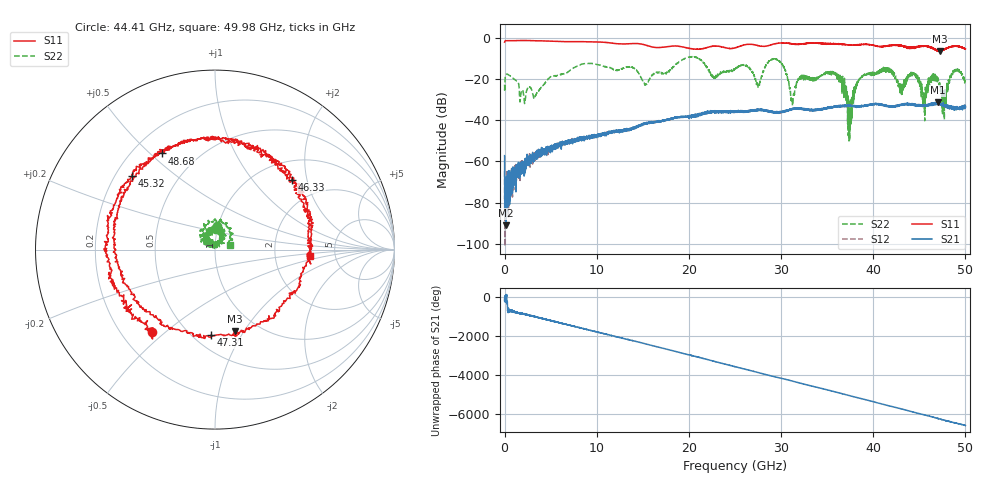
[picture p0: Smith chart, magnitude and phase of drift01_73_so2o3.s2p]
!Created with skrf (http://scikit-rf.org).
# Hz S RI R 50.0
!freq ReS11 ImS11 ReS21 ImS21 ReS12 ImS12 ReS22 ImS22
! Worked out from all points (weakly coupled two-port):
!   10001 points, 300 kHz to 50 GHz, reference 50 ohm
!   highest |S21| = -31.39 dB at 47.01 GHz (marker M1); lowest = -91.1 dB at 120.3 MHz (marker M2)
!   lowest |S11| = -6.6 dB at 47.21 GHz (marker M3), VSWR 2.76, Z = 39.1 - j45.6 ohm
!   |S11| at or under -10 dB: nowhere
!   |S22| runs from -50.1 to -9.2 dB; largest |S21 - S12| = 0.0038
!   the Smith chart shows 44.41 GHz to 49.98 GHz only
!   S11 on the Smith chart (normalised r, x): 44.41 GHz: 0.33, -0.45; 45.32 GHz: 0.27, +0.36; 46.33 GHz: 1.40, +1.63; 47.31 GHz: 0.61, -0.75; 48.68 GHz: 0.32, +0.55; 49.98 GHz: 3.20, -0.30
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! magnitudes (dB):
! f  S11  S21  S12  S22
! 300 kHz  -2.2  -57.2  -64.8  -22.8
! 120.3 MHz  -1.5  -91.1  -78.6  -18.1
! 3.29 GHz  -1.5  -56.9  -58.2  -28.8
! 8.335 GHz  -1.9  -48.7  -48.9  -12.9
! 16.67 GHz  -4.8  -40.9  -40.8  -16.7
! 25 GHz  -5.0  -35.9  -36.0  -15.2
! 29.58 GHz  -2.7  -36.2  -36.4  -10.7
! 31.23 GHz  -3.0  -34.8  -34.8  -32.2
! 33.34 GHz  -2.6  -34.9  -35.2  -20.3
! 36.14 GHz  -3.0  -33.4  -33.2  -19.6
! 37.47 GHz  -3.6  -33.3  -33.2  -38.6
! 38.66 GHz  -3.4  -33.3  -33.2  -19.2
! 41.67 GHz  -3.9  -33.4  -33.3  -16.8
! 44.41 GHz  -4.7  -32.8  -32.7  -17.6
! 45.32 GHz  -4.2  -33.1  -33.4  -25.7
! 46.33 GHz  -4.7  -32.8  -32.6  -18.6
! 47.01 GHz  -6.0  -31.4  -31.7  -19.7
! 47.21 GHz  -6.6  -32.2  -32.0  -22.1
! 47.31 GHz  -6.4  -31.8  -32.7  -25.2
! 48.68 GHz  -4.3  -34.8  -34.6  -16.7
! 49.98 GHz  -5.6  -34.0  -33.9  -20.9
! 50 GHz  -5.5  -33.7  -33.4  -21.0
